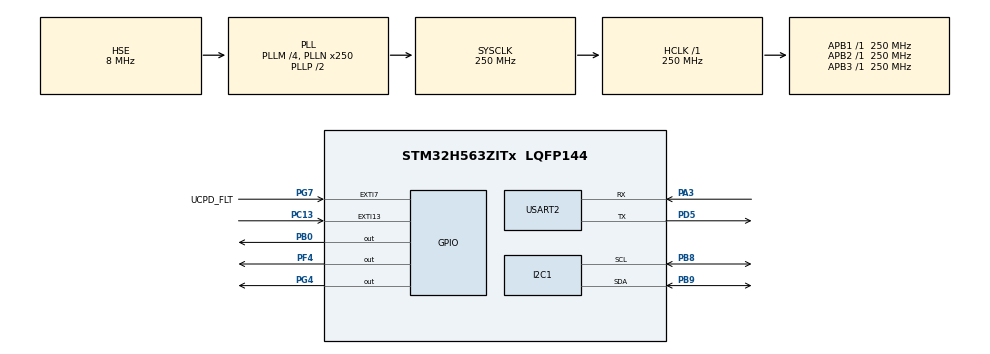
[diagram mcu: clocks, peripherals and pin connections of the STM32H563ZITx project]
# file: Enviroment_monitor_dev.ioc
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BOOTPATH.BootPathName=LEGACY
BOOTPATH.UserSelectedBootPath=LEGACY
CORTEX_M33_NS.userName=CORTEX_M33
I2C1.Timing=0x60808CD3
Mcu.Family=STM32H5
Mcu.Name=STM32H563ZITx
Mcu.Package=LQFP144
NUCLEO-H563ZI.BUTTON=1
NUCLEO-H563ZI.LD1=true
NUCLEO-H563ZI.LD2=true
NUCLEO-H563ZI.LD3=true
NUCLEO-H563ZI.VCP=true
NVIC.EXTI13_IRQn=true\:0\:0\:false\:false\:true\:false\:true\:true
NVIC.PriorityGroup=NVIC_PRIORITYGROUP_4
PA1.GPIO_Label=RMII_REF_CLK
PA1.GPIO_Mode=GPIO_MODE_AF_PP
PA1.GPIO_PuPd=GPIO_NOPULL
PA1.GPIO_Speed=GPIO_SPEED_FREQ_LOW
PA1.Signal=ETH_REF_CLK
PA11.GPIO_Label=USB_FS_N
PA11.Signal=USB_DM
PA12.GPIO_Label=USB_FS_P
PA12.Signal=USB_DP
PA13(JTMS/SWDIO).GPIO_Label=SWDIO
PA13(JTMS/SWDIO).Signal=DEBUG_JTMS-SWDIO
PA14(JTCK/SWCLK).GPIO_Label=SWCLK
PA14(JTCK/SWCLK).Signal=DEBUG_JTCK-SWCLK
PA15(JTDI).GPIO_Label=T_JTDI
PA15(JTDI).Signal=DEBUG_JTDI
PA2.GPIO_Label=RMII_MDIO
PA2.GPIO_Mode=GPIO_MODE_AF_PP
PA2.GPIO_PuPd=GPIO_NOPULL
PA2.GPIO_Speed=GPIO_SPEED_FREQ_LOW
PA2.Signal=ETH_MDIO
PA3.Mode=Asynchronous
PA3.Signal=USART2_RX
PA4.GPIO_Label=VBUS_SENSE
PA4.Signal=ADCx_INP18
PA7.GPIO_Label=RMII_CRS_DV
PA7.GPIO_Mode=GPIO_MODE_AF_PP
PA7.GPIO_PuPd=GPIO_NOPULL
PA7.GPIO_Speed=GPIO_SPEED_FREQ_LOW
PA7.Signal=ETH_CRS_DV
PA9.GPIO_Label=UCDP_DBn
PA9.Signal=UCPD1_DB1
PB0.Signal=GPIO_Output
PB13.GPIO_Label=UCPD_CC1
PB13.Signal=UCPD1_CC1
PB14.GPIO_Label=UCPD_CC2
PB14.Signal=UCPD1_CC2
PB15.GPIO_Label=RMII_TXD1
PB15.GPIO_Mode=GPIO_MODE_AF_PP
PB15.GPIO_PuPd=GPIO_NOPULL
PB15.GPIO_Speed=GPIO_SPEED_FREQ_LOW
PB15.Signal=ETH_TXD1
PB3(JTDO/TRACESWO).GPIO_Label=SWO
PB3(JTDO/TRACESWO).Signal=DEBUG_JTDO-SWO
PB6.GPIO_Label=ARD_D1_TX
PB6.Signal=LPUART1_TX
PB7.GPIO_Label=ARD_D0_RX
PB7.Signal=LPUART1_RX
PB8.Mode=I2C
PB8.Signal=I2C1_SCL
PB9.Mode=I2C
PB9.Signal=I2C1_SDA
PC1.GPIO_Label=RMII_MDC
PC1.GPIO_Mode=GPIO_MODE_AF_PP
PC1.GPIO_PuPd=GPIO_NOPULL
PC1.GPIO_Speed=GPIO_SPEED_FREQ_LOW
PC1.Signal=ETH_MDC
PC13.Signal=GPXTI13
PC14-OSC32_IN(OSC32_IN).Mode=LSE-External-Oscillator
PC14-OSC32_IN(OSC32_IN).Signal=RCC_OSC32_IN
PC15-OSC32_OUT(OSC32_OUT).Mode=LSE-External-Oscillator
PC15-OSC32_OUT(OSC32_OUT).Signal=RCC_OSC32_OUT
PC4.GPIO_Label=RMII_RXD0
PC4.GPIO_Mode=GPIO_MODE_AF_PP
PC4.GPIO_PuPd=GPIO_NOPULL
PC4.GPIO_Speed=GPIO_SPEED_FREQ_LOW
PC4.Signal=ETH_RXD0
PC5.GPIO_Label=RMII_RXD1
PC5.GPIO_Mode=GPIO_MODE_AF_PP
PC5.GPIO_PuPd=GPIO_NOPULL
PC5.GPIO_Speed=GPIO_SPEED_FREQ_LOW
PC5.Signal=ETH_RXD1
PD5.Mode=Asynchronous
PD5.Signal=USART2_TX
PD8.Signal=USART3_TX
PD9.Signal=USART3_RX
PE2.GPIO_Label=TRACE_CK
PE2.Signal=DEBUG_TRACECLK
PE3.GPIO_Label=TRACE_D0
PE3.Signal=DEBUG_TRACED0
PE4.GPIO_Label=TRACE_D1
PE4.Signal=DEBUG_TRACED1
PE5.GPIO_Label=TRACE_D2
PE5.Signal=DEBUG_TRACED2
PE6.GPIO_Label=TRACE_D3
PE6.Signal=DEBUG_TRACED3
PF4.Signal=GPIO_Output
PG11.GPIO_Label=RMII_TXT_EN
PG11.GPIO_Mode=GPIO_MODE_AF_PP
PG11.GPIO_PuPd=GPIO_NOPULL
PG11.GPIO_Speed=GPIO_SPEED_FREQ_LOW
PG11.Signal=ETH_TX_EN
PG13.GPIO_Label=RMI_TXD0
PG13.GPIO_Mode=GPIO_MODE_AF_PP
PG13.GPIO_PuPd=GPIO_NOPULL
PG13.GPIO_Speed=GPIO_SPEED_FREQ_LOW
PG13.Signal=ETH_TXD0
PG4.Signal=GPIO_Output
PG7.GPIO_Label=UCPD_FLT
PG7.Signal=GPXTI7
PH0-OSC_IN(PH0).GPIO_Label=STLK_MCO
PH0-OSC_IN(PH0).Mode=HSE-External-Clock-Source
PH0-OSC_IN(PH0).Signal=RCC_OSC_IN
ProjectManager.HeapSize=0x200
ProjectManager.StackSize=0x400
ProjectManager.TargetToolchain=CMake
RCC.ADCFreq_Value=250000000
RCC.AHBFreq_Value=250000000
RCC.APB1Freq_Value=250000000
RCC.APB1TimFreq_Value=250000000
RCC.APB2Freq_Value=250000000
RCC.APB2TimFreq_Value=250000000
RCC.APB3Freq_Value=250000000
RCC.CSI_VALUE=4000000
RCC.CortexFreq_Value=250000000
RCC.EPOD_VALUE=8000000
RCC.HCLKFreq_Value=250000000
RCC.HSE_VALUE=8000000
RCC.HSI48_VALUE=48000000
RCC.HSIDiv=RCC_HSI_DIV1
RCC.HSI_VALUE=64000000
RCC.LSIRC_VALUE=32000
RCC.PLLM=4
RCC.PLLN=250
RCC.PLLSourceVirtual=RCC_PLL1_SOURCE_HSE
RCC.SYSCLKFreq_VALUE=250000000
RCC.SYSCLKSource=RCC_SYSCLKSOURCE_PLLCLK
RCC.USBFreq_Value=48000000
RCC.VCOOutputFreq_Value=500000000
SH.ADCx_INP18.0=ADC1_INP18
USART2.VirtualMode-Asynchronous=VM_ASYNC
VP_BOOTPATH_VS_BOOTPATH.Mode=BP_Activate
VP_CORTEX_M33_NS_VS_Hclk.Mode=Hclk_Mode
VP_ICACHE_VS_ICACHE.Mode=DirectMappedCache
VP_MEMORYMAP_VS_MEMORYMAP.Mode=CurAppReg
VP_NUCLEO-H563ZI_VS_BSP_COMMON.Mode=COMMON
VP_PWR_VS_DBSignals.Mode=DisableDeadBatterySignals
VP_PWR_VS_LPOM.Mode=PowerOptimisation
VP_PWR_VS_SECSignals.Mode=Security/Privilege
board=NUCLEO-H563ZI

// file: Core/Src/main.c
/* USER CODE BEGIN Header */
/**
  ******************************************************************************
  * @file           : main.c
  * @brief          : Main program body
  ******************************************************************************
  * @attention
  *
  * Copyright (c) 2025 STMicroelectronics.
  * All rights reserved.
  *
  * This software is licensed under terms that can be found in the LICENSE file
  * in the root directory of this software component.
  * If no LICENSE file comes with this software, it is provided AS-IS.
  *
  ******************************************************************************
  */
/* USER CODE END Header */
#include "../Inc/main.h"

/* USER CODE BEGIN Includes */
#include "../Inc/main.h"
#include "sensors/temp_humid/temp_humid_sensor.h"
#include <stdio.h>

/* USER CODE END Includes */

/* USER CODE BEGIN PTD */
I2C_HandleTypeDef hi2c1;
/* USER CODE END PTD */

COM_InitTypeDef BspCOMInit;

I2C_HandleTypeDef hi2c1;

UART_HandleTypeDef huart2;

void SystemClock_Config(void);
static void MX_GPIO_Init(void);
static void MX_ICACHE_Init(void);
static void MX_I2C1_Init(void);
static void MX_USART2_UART_Init(void);

int main(void)
{

  /* USER CODE BEGIN 1 */
  AHT20_Data sensor_data;

  int __io_putchar(int ch) // printf to Uart
{
    HAL_UART_Transmit(&huart2, (uint8_t *)&ch, 1, HAL_MAX_DELAY);
    return ch;
}
  /* USER CODE END 1 */

  /* MCU Configuration--------------------------------------------------------*/

  /* Reset of all peripherals, Initializes the Flash interface and the Systick. */
  HAL_Init();

  /* Configure the system clock */
  SystemClock_Config();

  /* Initialize all configured peripherals */
  MX_GPIO_Init();
  MX_ICACHE_Init();
  MX_I2C1_Init();
  MX_USART2_UART_Init();

  /* Initialize leds */
  BSP_LED_Init(LED_GREEN);
  BSP_LED_Init(LED_YELLOW);
  BSP_LED_Init(LED_RED);

  /* Initialize USER push-button, will be used to trigger an interrupt each time it's pressed.*/
  BSP_PB_Init(BUTTON_USER, BUTTON_MODE_EXTI);

  /* Initialize COM1 port (115200, 8 bits (7-bit data + 1 stop bit), no parity */
  BspCOMInit.BaudRate   = 115200;
  BspCOMInit.WordLength = COM_WORDLENGTH_8B;
  BspCOMInit.StopBits   = COM_STOPBITS_1;
  BspCOMInit.Parity     = COM_PARITY_NONE;
  BspCOMInit.HwFlowCtl  = COM_HWCONTROL_NONE;
  if (BSP_COM_Init(COM1, &BspCOMInit) != BSP_ERROR_NONE)
  {
    Error_Handler();
  }

  /* Infinite loop */
  /* USER CODE BEGIN WHILE */
  while (1)
  {

  // serial test
uint8_t UARTbuffer[] = "Hello World!\r\n";
HAL_UART_Transmit(&huart2, &UARTbuffer, sizeof(UARTbuffer), 1000);

  if (AHT20_Read(&sensor_data) == HAL_OK) {
              printf("Temperature: %.1f°C, Humidity: %.1f%%\r\n",
                    sensor_data.temperature,
                    sensor_data.humidity);
          } else {
              printf("Error reading sensor\r\n");
          }

          HAL_Delay(2000);  // Wait 2 seconds before next reading

    /* USER CODE END WHILE */

  }
}

void SystemClock_Config(void)
{
  RCC_OscInitTypeDef RCC_OscInitStruct = {0};
  RCC_ClkInitTypeDef RCC_ClkInitStruct = {0};

  /** Configure the main internal regulator output voltage
  */
  __HAL_PWR_VOLTAGESCALING_CONFIG(PWR_REGULATOR_VOLTAGE_SCALE0);

  while(!__HAL_PWR_GET_FLAG(PWR_FLAG_VOSRDY)) {}

  /** Initializes the RCC Oscillators according to the specified parameters
  * in the RCC_OscInitTypeDef structure.
  */
  RCC_OscInitStruct.OscillatorType = RCC_OSCILLATORTYPE_HSE;
  RCC_OscInitStruct.HSEState = RCC_HSE_BYPASS;
  RCC_OscInitStruct.PLL.PLLState = RCC_PLL_ON;
  RCC_OscInitStruct.PLL.PLLSource = RCC_PLL1_SOURCE_HSE;
  RCC_OscInitStruct.PLL.PLLM = 4;
  RCC_OscInitStruct.PLL.PLLN = 250;
  RCC_OscInitStruct.PLL.PLLP = 2;
  RCC_OscInitStruct.PLL.PLLQ = 2;
  RCC_OscInitStruct.PLL.PLLR = 2;
  RCC_OscInitStruct.PLL.PLLRGE = RCC_PLL1_VCIRANGE_1;
  RCC_OscInitStruct.PLL.PLLVCOSEL = RCC_PLL1_VCORANGE_WIDE;
  RCC_OscInitStruct.PLL.PLLFRACN = 0;
  if (HAL_RCC_OscConfig(&RCC_OscInitStruct) != HAL_OK)
  {
    Error_Handler();
  }

  /** Initializes the CPU, AHB and APB buses clocks
  */
  RCC_ClkInitStruct.ClockType = RCC_CLOCKTYPE_HCLK|RCC_CLOCKTYPE_SYSCLK
                              |RCC_CLOCKTYPE_PCLK1|RCC_CLOCKTYPE_PCLK2
                              |RCC_CLOCKTYPE_PCLK3;
  RCC_ClkInitStruct.SYSCLKSource = RCC_SYSCLKSOURCE_PLLCLK;
  RCC_ClkInitStruct.AHBCLKDivider = RCC_SYSCLK_DIV1;
  RCC_ClkInitStruct.APB1CLKDivider = RCC_HCLK_DIV1;
  RCC_ClkInitStruct.APB2CLKDivider = RCC_HCLK_DIV1;
  RCC_ClkInitStruct.APB3CLKDivider = RCC_HCLK_DIV1;

  if (HAL_RCC_ClockConfig(&RCC_ClkInitStruct, FLASH_LATENCY_5) != HAL_OK)
  {
    Error_Handler();
  }

  /** Configure the programming delay
  */
  __HAL_FLASH_SET_PROGRAM_DELAY(FLASH_PROGRAMMING_DELAY_2);
}

static void MX_I2C1_Init(void)
{

  hi2c1.Instance = I2C1;
  hi2c1.Init.Timing = 0x60808CD3;
  hi2c1.Init.OwnAddress1 = 0;
  hi2c1.Init.AddressingMode = I2C_ADDRESSINGMODE_7BIT;
  hi2c1.Init.DualAddressMode = I2C_DUALADDRESS_DISABLE;
  hi2c1.Init.OwnAddress2 = 0;
  hi2c1.Init.OwnAddress2Masks = I2C_OA2_NOMASK;
  hi2c1.Init.GeneralCallMode = I2C_GENERALCALL_DISABLE;
  hi2c1.Init.NoStretchMode = I2C_NOSTRETCH_DISABLE;
  if (HAL_I2C_Init(&hi2c1) != HAL_OK)
  {
    Error_Handler();
  }

  /** Configure Analogue filter
  */
  if (HAL_I2CEx_ConfigAnalogFilter(&hi2c1, I2C_ANALOGFILTER_ENABLE) != HAL_OK)
  {
    Error_Handler();
  }

  /** Configure Digital filter
  */
  if (HAL_I2CEx_ConfigDigitalFilter(&hi2c1, 0) != HAL_OK)
  {
    Error_Handler();
  }
  /* USER CODE BEGIN I2C1_Init 2 */
    if (AHT20_Init() != HAL_OK) {
        printf("Error initializing sensor\r\n");
        Error_Handler();
    }
  /* USER CODE END I2C1_Init 2 */

}

static void MX_ICACHE_Init(void)
{

  /** Enable instruction cache in 1-way (direct mapped cache)
  */
  if (HAL_ICACHE_ConfigAssociativityMode(ICACHE_1WAY) != HAL_OK)
  {
    Error_Handler();
  }
  if (HAL_ICACHE_Enable() != HAL_OK)
  {
    Error_Handler();
  }

}

static void MX_USART2_UART_Init(void)
{

  huart2.Instance = USART2;
  huart2.Init.BaudRate = 115200;
  huart2.Init.WordLength = UART_WORDLENGTH_8B;
  huart2.Init.StopBits = UART_STOPBITS_1;
  huart2.Init.Parity = UART_PARITY_NONE;
  huart2.Init.Mode = UART_MODE_TX_RX;
  huart2.Init.HwFlowCtl = UART_HWCONTROL_NONE;
  huart2.Init.OverSampling = UART_OVERSAMPLING_16;
  huart2.Init.OneBitSampling = UART_ONE_BIT_SAMPLE_DISABLE;
  huart2.Init.ClockPrescaler = UART_PRESCALER_DIV1;
  huart2.AdvancedInit.AdvFeatureInit = UART_ADVFEATURE_NO_INIT;
  if (HAL_UART_Init(&huart2) != HAL_OK)
  {
    Error_Handler();
  }
  if (HAL_UARTEx_SetTxFifoThreshold(&huart2, UART_TXFIFO_THRESHOLD_1_8) != HAL_OK)
  {
    Error_Handler();
  }
  if (HAL_UARTEx_SetRxFifoThreshold(&huart2, UART_RXFIFO_THRESHOLD_1_8) != HAL_OK)
  {
    Error_Handler();
  }
  if (HAL_UARTEx_DisableFifoMode(&huart2) != HAL_OK)
  {
    Error_Handler();
  }

}

static void MX_GPIO_Init(void)
{
  GPIO_InitTypeDef GPIO_InitStruct = {0};

  /* GPIO Ports Clock Enable */
  __HAL_RCC_GPIOE_CLK_ENABLE();
  __HAL_RCC_GPIOC_CLK_ENABLE();
  __HAL_RCC_GPIOH_CLK_ENABLE();
  __HAL_RCC_GPIOA_CLK_ENABLE();
  __HAL_RCC_GPIOB_CLK_ENABLE();
  __HAL_RCC_GPIOG_CLK_ENABLE();
  __HAL_RCC_GPIOD_CLK_ENABLE();

  /*Configure GPIO pins : RMII_MDC_Pin RMII_RXD0_Pin RMII_RXD1_Pin */
  GPIO_InitStruct.Pin = RMII_MDC_Pin|RMII_RXD0_Pin|RMII_RXD1_Pin;
  GPIO_InitStruct.Mode = GPIO_MODE_AF_PP;
  GPIO_InitStruct.Pull = GPIO_NOPULL;
  GPIO_InitStruct.Speed = GPIO_SPEED_FREQ_HIGH;
  GPIO_InitStruct.Alternate = GPIO_AF11_ETH;
  HAL_GPIO_Init(GPIOC, &GPIO_InitStruct);

  /*Configure GPIO pins : RMII_REF_CLK_Pin RMII_MDIO_Pin RMII_CRS_DV_Pin */
  GPIO_InitStruct.Pin = RMII_REF_CLK_Pin|RMII_MDIO_Pin|RMII_CRS_DV_Pin;
  GPIO_InitStruct.Mode = GPIO_MODE_AF_PP;
  GPIO_InitStruct.Pull = GPIO_NOPULL;
  GPIO_InitStruct.Speed = GPIO_SPEED_FREQ_HIGH;
  GPIO_InitStruct.Alternate = GPIO_AF11_ETH;
  HAL_GPIO_Init(GPIOA, &GPIO_InitStruct);

  /*Configure GPIO pin : VBUS_SENSE_Pin */
  GPIO_InitStruct.Pin = VBUS_SENSE_Pin;
  GPIO_InitStruct.Mode = GPIO_MODE_ANALOG;
  GPIO_InitStruct.Pull = GPIO_NOPULL;
  HAL_GPIO_Init(VBUS_SENSE_GPIO_Port, &GPIO_InitStruct);

  /*Configure GPIO pins : UCPD_CC1_Pin UCPD_CC2_Pin */
  GPIO_InitStruct.Pin = UCPD_CC1_Pin|UCPD_CC2_Pin;
  GPIO_InitStruct.Mode = GPIO_MODE_ANALOG;
  GPIO_InitStruct.Pull = GPIO_NOPULL;
  HAL_GPIO_Init(GPIOB, &GPIO_InitStruct);

  /*Configure GPIO pin : RMII_TXD1_Pin */
  GPIO_InitStruct.Pin = RMII_TXD1_Pin;
  GPIO_InitStruct.Mode = GPIO_MODE_AF_PP;
  GPIO_InitStruct.Pull = GPIO_NOPULL;
  GPIO_InitStruct.Speed = GPIO_SPEED_FREQ_HIGH;
  GPIO_InitStruct.Alternate = GPIO_AF11_ETH;
  HAL_GPIO_Init(RMII_TXD1_GPIO_Port, &GPIO_InitStruct);

  /*Configure GPIO pin : UCPD_FLT_Pin */
  GPIO_InitStruct.Pin = UCPD_FLT_Pin;
  GPIO_InitStruct.Mode = GPIO_MODE_IT_RISING;
  GPIO_InitStruct.Pull = GPIO_NOPULL;
  HAL_GPIO_Init(UCPD_FLT_GPIO_Port, &GPIO_InitStruct);

  /*Configure GPIO pins : USB_FS_N_Pin USB_FS_P_Pin */
  GPIO_InitStruct.Pin = USB_FS_N_Pin|USB_FS_P_Pin;
  GPIO_InitStruct.Mode = GPIO_MODE_AF_PP;
  GPIO_InitStruct.Pull = GPIO_NOPULL;
  GPIO_InitStruct.Speed = GPIO_SPEED_FREQ_LOW;
  GPIO_InitStruct.Alternate = GPIO_AF10_USB;
  HAL_GPIO_Init(GPIOA, &GPIO_InitStruct);

  /*Configure GPIO pins : RMII_TXT_EN_Pin RMI_TXD0_Pin */
  GPIO_InitStruct.Pin = RMII_TXT_EN_Pin|RMI_TXD0_Pin;
  GPIO_InitStruct.Mode = GPIO_MODE_AF_PP;
  GPIO_InitStruct.Pull = GPIO_NOPULL;
  GPIO_InitStruct.Speed = GPIO_SPEED_FREQ_HIGH;
  GPIO_InitStruct.Alternate = GPIO_AF11_ETH;
  HAL_GPIO_Init(GPIOG, &GPIO_InitStruct);

  /*Configure GPIO pins : ARD_D1_TX_Pin ARD_D0_RX_Pin */
  GPIO_InitStruct.Pin = ARD_D1_TX_Pin|ARD_D0_RX_Pin;
  GPIO_InitStruct.Mode = GPIO_MODE_AF_PP;
  GPIO_InitStruct.Pull = GPIO_NOPULL;
  GPIO_InitStruct.Speed = GPIO_SPEED_FREQ_LOW;
  GPIO_InitStruct.Alternate = GPIO_AF8_LPUART1;
  HAL_GPIO_Init(GPIOB, &GPIO_InitStruct);

}

void Error_Handler(void)
{
  __disable_irq();
  while (1)
  {
  }
}
